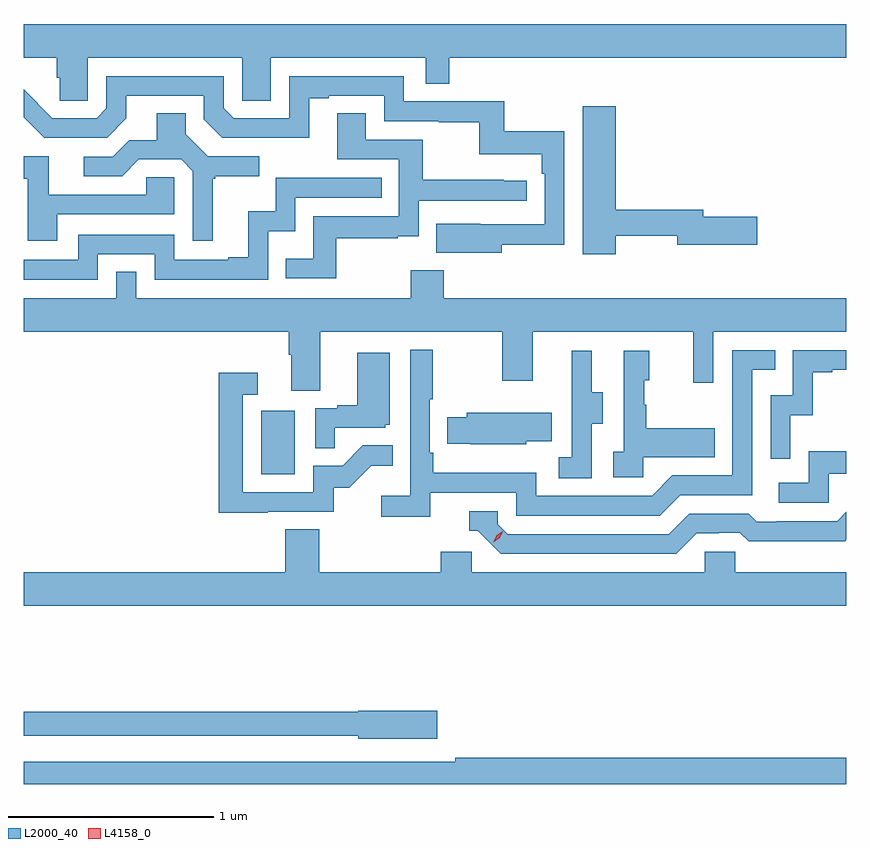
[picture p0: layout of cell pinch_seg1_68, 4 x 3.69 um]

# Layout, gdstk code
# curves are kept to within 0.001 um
import gdstk
lib = gdstk.Library(unit=1e-6, precision=1e-09)
def R(c, l, rs):  # rectangles x0, y0, x1, y1
    for r in rs: c.add(gdstk.rectangle(r[:2], r[2:], *l))
def P(c, l, *ps):  # polygons
    for p in ps: c.add(gdstk.Polygon(p, *l))
L2000_40 = (2000, 40)
L4158_0 = (4158, 0)

pinch_seg1_68 = lib.new_cell('pinch_seg1_68')
R(pinch_seg1_68, L2000_40, [(1020.686,579.012,1020.85,579.319)])
P(pinch_seg1_68, L2000_40, [(1019.844,581.036),(1020.594,581.036),(1020.594,580.828),(1020.733,580.828),(1020.733,581.036),(1021.485,581.036),(1021.485,580.909),(1021.601,580.909),(1021.601,581.036),(1023.531,581.036),(1023.531,581.2),(1019.531,581.2),(1019.531,581.036),(1019.693,581.036),(1019.693,580.938),(1019.707,580.938),(1019.707,580.828),(1019.844,580.828)],
  [(1021.855,580.126),(1022.16,580.126),(1022.16,580.678),(1021.867,580.678),(1021.867,580.824),(1021.38,580.824),(1021.38,580.947),(1020.822,580.947),(1020.822,580.743),(1020.552,580.743),(1020.504,580.791),(1020.504,580.947),(1019.934,580.947),(1019.934,580.791),(1019.886,580.743),(1019.67,580.743),(1019.531,580.882),(1019.531,580.747),(1019.631,580.647),(1019.937,580.647),(1020.031,580.741),(1020.031,580.851),(1020.408,580.851),(1020.408,580.737),(1020.498,580.647),(1020.919,580.646),(1020.919,580.839),(1021.015,580.839),(1021.015,580.851),(1021.284,580.851),(1021.284,580.728),(1021.549,580.728),(1021.549,580.723),(1021.746,580.723),(1021.746,580.568),(1022.051,580.568),(1022.051,580.472),(1022.064,580.472),(1022.064,580.227),(1021.537,580.228),(1021.537,580.088),(1021.855,580.088)],
  [(1022.41,580.17),(1022.708,580.17),(1022.708,580.127),(1023.097,580.127),(1023.097,580.262),(1022.836,580.262),(1022.836,580.298),(1022.41,580.298),(1022.41,580.801),(1022.249,580.801),(1022.249,580.08),(1022.41,580.08)],
  [(1021.051,580.158),(1021.349,580.158),(1021.349,580.169),(1021.452,580.169),(1021.452,580.341),(1021.978,580.341),(1021.978,580.437),(1021.865,580.437),(1021.865,580.442),(1021.472,580.442),(1021.472,580.638),(1021.195,580.638),(1021.195,580.766),(1021.055,580.766),(1021.055,580.542),(1021.356,580.542),(1021.356,580.266),(1020.94,580.266),(1020.94,580.06),(1020.805,580.06),(1020.805,579.963),(1021.051,579.963)],
  [(1020.451,580.449),(1020.463,580.449),(1020.463,580.46),(1020.676,580.46),(1020.676,580.557),(1020.426,580.557),(1020.319,580.664),(1020.319,580.766),(1020.179,580.766),(1020.179,580.634),(1020.044,580.634),(1019.964,580.554),(1019.823,580.554),(1019.823,580.461),(1020.01,580.461),(1020.091,580.542),(1020.297,580.542),(1020.354,580.485),(1020.354,580.146),(1020.451,580.146)],
  [(1019.695,580.275),(1020.264,580.275),(1020.264,580.455),(1020.127,580.455),(1020.127,580.371),(1019.653,580.371),(1019.653,580.557),(1019.531,580.557),(1019.531,580.449),(1019.551,580.449),(1019.551,580.146),(1019.695,580.146)],
  [(1019.892,580.08),(1020.168,580.08),(1020.168,579.957),(1020.72,579.957),(1020.72,580.193),(1020.852,580.193),(1020.852,580.356),(1021.271,580.356),(1021.271,580.452),(1020.756,580.452),(1020.756,580.291),(1020.623,580.291),(1020.623,580.066),(1020.527,580.066),(1020.527,580.053),(1020.264,580.053),(1020.264,580.176),(1019.796,580.176),(1019.796,580.053),(1019.531,580.053),(1019.531,579.957),(1019.892,579.957)],
  [(1020.078,579.995),(1019.982,579.995),(1019.982,579.868),(1019.531,579.868),(1019.531,579.704),(1020.821,579.704),(1020.821,579.592),(1020.833,579.592),(1020.833,579.418),(1020.973,579.418),(1020.973,579.704),(1021.858,579.704),(1021.858,579.465),(1022.005,579.465),(1022.005,579.704),(1022.786,579.704),(1022.786,579.456),(1022.883,579.456),(1022.883,579.704),(1023.531,579.704),(1023.531,579.868),(1021.574,579.868),(1021.574,580.003),(1021.414,580.003),(1021.414,579.868),(1020.078,579.868)],
  [(1021.508,578.922),(1021.926,578.922),(1021.926,578.811),(1022.623,578.811),(1022.722,578.91),(1023.072,578.91),(1023.072,579.519),(1023.185,579.519),(1023.185,579.615),(1022.976,579.615),(1022.976,579.006),(1022.685,579.006),(1022.586,578.907),(1022.022,578.907),(1022.022,579.019),(1021.523,579.019),(1021.523,579.115),(1021.506,579.115),(1021.506,579.376),(1021.519,579.376),(1021.519,579.616),(1021.41,579.616),(1021.41,578.908),(1021.269,578.908),(1021.269,578.806),(1021.508,578.806)],
  [(1023.258,579.299),(1023.368,579.299),(1023.368,579.507),(1023.463,579.507),(1023.463,579.519),(1023.531,579.519),(1023.531,579.615),(1023.27,579.615),(1023.27,579.396),(1023.162,579.396),(1023.162,579.087),(1023.258,579.087)],
  [(1022.544,579.095),(1022.891,579.095),(1022.891,579.235),(1022.557,579.235),(1022.557,579.35),(1022.547,579.35),(1022.547,579.468),(1022.572,579.468),(1022.572,579.613),(1022.448,579.613),(1022.448,579.122),(1022.397,579.122),(1022.397,578.997),(1022.544,578.997)],
  [(1022.292,579.256),(1022.347,579.256),(1022.347,579.411),(1022.293,579.411),(1022.293,579.613),(1022.195,579.613),(1022.195,579.399),(1022.196,579.399),(1022.196,579.095),(1022.133,579.095),(1022.133,578.992),(1022.292,578.992)],
  [(1021.043,579.237),(1021.29,579.237),(1021.29,579.252),(1021.312,579.252),(1021.312,579.601),(1021.154,579.601),(1021.154,579.346),(1021.055,579.346),(1021.055,579.333),(1020.948,579.333),(1020.948,579.139),(1021.043,579.139)],
  [(1020.719,578.829),(1021.038,578.829),(1021.038,578.946),(1021.114,578.946),(1021.221,579.053),(1021.325,579.053),(1021.325,579.152),(1021.181,579.152),(1021.083,579.054),(1020.939,579.054),(1020.939,578.925),(1020.597,578.925),(1020.597,579.399),(1020.67,579.399),(1020.67,579.505),(1020.481,579.505),(1020.481,578.824),(1020.719,578.824)],
  [(1021.974,579.173),(1022.099,579.173),(1022.099,579.31),(1021.685,579.31),(1021.685,579.288),(1021.591,579.288),(1021.591,579.159),(1021.702,579.159),(1021.702,579.158),(1021.974,579.158)],
  [(1023.444,579.015),(1023.531,579.015),(1023.531,579.124),(1023.348,579.124),(1023.348,578.97),(1023.201,578.97),(1023.201,578.874),(1023.444,578.874)],
  [(1022.803,578.724),(1022.91,578.724),(1022.91,578.727),(1023.013,578.727),(1023.055,578.685),(1023.288,578.685),(1023.288,578.687),(1023.524,578.687),(1023.531,578.694),(1023.531,578.829),(1023.486,578.784),(1023.193,578.784),(1023.193,578.781),(1023.094,578.781),(1023.055,578.82),(1022.766,578.82),(1022.667,578.721),(1021.884,578.721),(1021.836,578.769),(1021.836,578.832),(1021.697,578.832),(1021.697,578.736),(1021.74,578.736),(1021.851,578.625),(1022.704,578.625)],
  [(1023.531,578.536),(1022.991,578.536),(1022.991,578.634),(1022.841,578.634),(1022.841,578.536),(1021.71,578.536),(1021.71,578.634),(1021.559,578.634),(1021.559,578.536),(1020.968,578.536),(1020.968,578.744),(1020.803,578.744),(1020.803,578.536),(1019.531,578.536),(1019.531,578.372),(1023.531,578.372)],
  [(1021.543,577.862),(1021.158,577.862),(1021.158,577.856),(1019.531,577.856),(1019.531,577.74),(1021.158,577.74),(1021.158,577.727),(1021.543,577.727)],
  [(1023.531,577.634),(1021.63,577.634),(1021.63,577.614),(1019.531,577.614),(1019.531,577.506),(1023.531,577.506)])
P(pinch_seg1_68, L4158_0, [(1021.814,578.682),(1021.814,578.682),(1021.83,578.715),(1021.86,578.735),(1021.86,578.735),(1021.86,578.735),(1021.845,578.702),(1021.814,578.682)])

lib.write_gds('pinch_seg1_68.gds')
